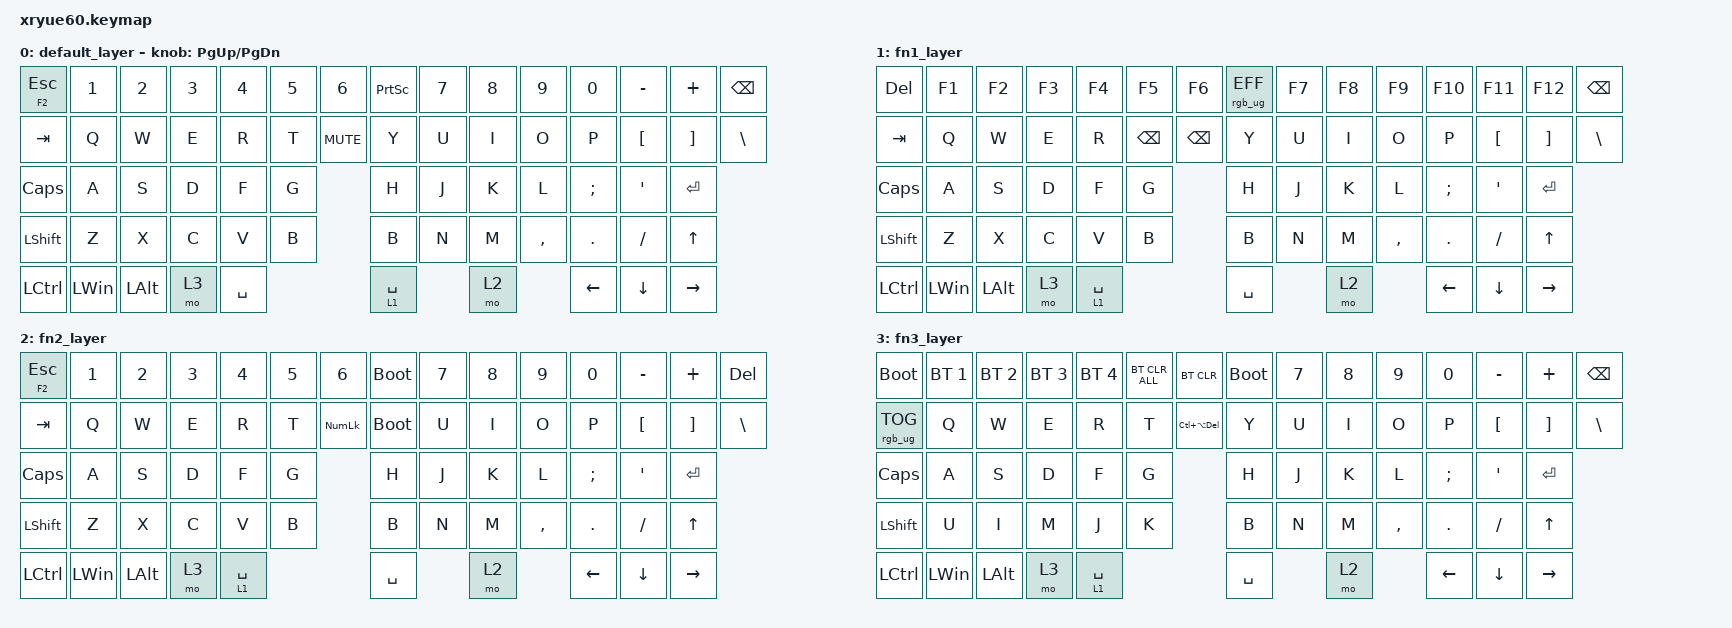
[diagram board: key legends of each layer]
/*
 * Copyright (c) 2020 The ZMK Contributors
 *
 * SPDX-License-Identifier: MIT
 */

#include <behaviors.dtsi>
#include <dt-bindings/zmk/bt.h>
#include <dt-bindings/zmk/keys.h>
#include <dt-bindings/zmk/rgb.h>

/ {
    macros {
        pin: pin {
            compatible = "zmk,behavior-macro";
            #binding-cells = <0>;
            bindings = <&kp N1 &kp N2 &kp N3 &kp N1 &kp N2 &kp N3>;
        };

        xzw: xzw {
            compatible = "zmk,behavior-macro";
            #binding-cells = <0>;
            bindings =
                <&macro_tap>,
                <&kp X &kp Z &kp W>,
                <&macro_press>,
                <&kp LSHFT>,
                <&macro_tap>,
                <&kp X &kp Z &kp W>,
                <&macro_release>,
                <&kp LSHFT>,
                <&macro_tap>,
                <&kp N1 &kp N9 &kp N9 &kp N1 &kp EXCL>;
        };

        jd: jd {
            compatible = "zmk,behavior-macro";
            #binding-cells = <0>;
            bindings =
                <&macro_tap>,
                <&kp J &kp D>,
                <&macro_press>,
                <&kp LSHFT>,
                <&macro_tap>,
                <&kp W &kp L>,
                <&macro_release>,
                <&kp LSHFT>,
                <&macro_tap>,
                <&kp AT &kp O &kp P &kp S &kp N6 &kp N1 &kp N8>;
        };

        sjjs: sjjs {
            compatible = "zmk,behavior-macro";
            #binding-cells = <0>;
            bindings = <&kp N1 &kp N9 &kp N9 &kp N3 &kp N1 &kp N8>;
            label = "SJJS";
        };

        vlookup: vlookup {
            compatible = "zmk,behavior-macro";
            #binding-cells = <0>;
            bindings = <&kp EQUAL &kp LS(V) &kp LS(L) &kp LS(O) &kp LS(O) &kp LS(K) &kp LS(U) &kp LS(P) &kp LPAR>;
            label = "VLOOKUP";
        };
    };

    /*
    combos {
        compatible = "zmk,combos";

        combo_F1 {
            #timeout-ms = <5>;
            key-positions = <1 2>;
            bindings = <&kp F1>;
        };
        combo_F2 {
            #timeout-ms = <5>;
            key-positions = <2 3>;
            bindings = <&kp F2>;
        };
        combo_F3 {
            #timeout-ms = <5>;
            key-positions = <3 4>;
            bindings = <&kp F3>;
        };       
        combo_F4 {
            #timeout-ms = <5>;
            key-positions = <4 5>;
            bindings = <&kp F4>;
        };
        combo_F5 {
            #timeout-ms = <5>;
            key-positions = <5 6>;
            bindings = <&kp F5>;
        };
        combo_F6 {
            #timeout-ms = <5>;
            key-positions = <6 20>;
            bindings = <&kp F6>;
        };
        combo_F7 {
            #timeout-ms = <5>;
            key-positions = <8 9>;
            bindings = <&kp F7>;
        };
        combo_F8 {
            #timeout-ms = <5>;
            key-positions = <9 10>;
            bindings = <&kp F8>;
        };
        combo_F9 {
            #timeout-ms = <5>;
            key-positions = <10 11>;
            bindings = <&kp F9>;
        };
        combo_F10 {
            #timeout-ms = <5>;
            key-positions = <11 12>;
            bindings = <&kp F10>;
        };
        combo_F11 {
            #timeout-ms = <5>;
            key-positions = <12 13>;
            bindings = <&kp F11>;
        };
         combo_F12 {
            #timeout-ms = <5>;
            key-positions = <13 14>;
            bindings = <&kp F12>;
        };       
    };
*/

    keymap0: keymap {
        compatible = "zmk,keymap";

        default_layer {
            bindings = <
&mt F2 ESC  &kp N1    &kp N2    &kp N3  &kp N4     &kp N5  &kp N6      &kp PSCRN    &kp N7  &kp N8  &kp N9     &kp N0    &kp MINUS  &kp PLUS   &kp BSPC
&kp TAB     &kp Q     &kp W     &kp E   &kp R      &kp T   &kp C_MUTE  &kp Y        &kp U   &kp I   &kp O      &kp P     &kp LBKT   &kp RBKT   &kp BSLH
&kp CAPS    &kp A     &kp S     &kp D   &kp F      &kp G               &kp H        &kp J   &kp K   &kp L      &kp SEMI  &kp SQT    &kp ENTER
&kp LSHFT   &kp Z     &kp X     &kp C   &kp V      &kp B               &kp B        &kp N   &kp M   &kp COMMA  &kp DOT   &kp FSLH   &kp UP
&kp LCTRL   &kp LWIN  &kp LALT  &mo 3   &kp SPACE                      &lt 1 SPACE          &mo 2              &kp LEFT  &kp DOWN   &kp RIGHT
            >;
sensor-bindings = <&inc_dec_kp PG_UP PG_DN>;


        };

        fn1_layer {
            bindings = <
&kp DEL    &kp F1    &kp F2    &kp F3  &kp F4       &kp F5    &kp F6    &rgb_ug RGB_EFF  &kp F7  &kp F8  &kp F9     &kp F10   &kp F11   &kp F12    &kp BSPC
&kp TAB    &kp Q     &kp W     &kp E   &kp R        &kp BSPC  &kp BSPC  &kp Y            &kp U   &kp I   &kp O      &kp P     &kp LBKT  &kp RBKT   &kp BSLH
&kp CAPS   &kp A     &kp S     &kp D   &kp F        &kp G               &kp H            &kp J   &kp K   &kp L      &kp SEMI  &kp SQT   &kp ENTER
&kp LSHFT  &kp Z     &kp X     &kp C   &kp V        &kp B               &kp B            &kp N   &kp M   &kp COMMA  &kp DOT   &kp FSLH  &kp UP
&kp LCTRL  &kp LWIN  &kp LALT  &mo 3   &lt 1 SPACE                      &kp SPACE                &mo 2              &kp LEFT  &kp DOWN  &kp RIGHT
            >;

            
        };

        fn2_layer {
            bindings = <
&mt F2 ESC  &kp N1    &kp N2    &kp N3  &kp N4       &kp N5  &kp N6      &bootloader  &kp N7  &kp N8  &kp N9     &kp N0    &kp MINUS  &kp PLUS   &kp DEL
&kp TAB     &kp Q     &kp W     &kp E   &kp R        &kp T   &kp KP_NUM  &bootloader  &kp U   &kp I   &kp O      &kp P     &kp LBKT   &kp RBKT   &kp BSLH
&kp CAPS    &kp A     &kp S     &kp D   &kp F        &kp G               &kp H        &kp J   &kp K   &kp L      &kp SEMI  &kp SQT    &kp ENTER
&kp LSHFT   &kp Z     &kp X     &kp C   &kp V        &kp B               &kp B        &kp N   &kp M   &kp COMMA  &kp DOT   &kp FSLH   &kp UP
&kp LCTRL   &kp LWIN  &kp LALT  &mo 3   &lt 1 SPACE                      &kp SPACE            &mo 2              &kp LEFT  &kp DOWN   &kp RIGHT
            >;

           
        };

        fn3_layer {
            bindings = <
&bootloader           &bt BT_SEL 1  &bt BT_SEL 2  &bt BT_SEL 3  &bt BT_SEL 4  &bt BT_CLR_ALL  &bt BT_CLR       &bootloader  &kp N7  &kp N8  &kp N9     &kp N0    &kp MINUS  &kp PLUS   &kp BSPC
&rgb_ug RGB_TOG       &kp Q         &kp W         &kp E         &kp R         &kp T           &kp LC(LA(DEL))  &kp Y        &kp U   &kp I   &kp O      &kp P     &kp LBKT   &kp RBKT   &kp BSLH
&kp CAPS              &kp A         &kp S         &kp D         &kp F         &kp G                            &kp H        &kp J   &kp K   &kp L      &kp SEMI  &kp SQT    &kp ENTER
&kp LSHFT             &kp U         &kp I         &kp M         &kp J         &kp K                            &kp B        &kp N   &kp M   &kp COMMA  &kp DOT   &kp FSLH   &kp UP
&kp LCTRL             &kp LWIN      &kp LALT      &mo 3         &lt 1 SPACE                                    &kp SPACE            &mo 2              &kp LEFT  &kp DOWN   &kp RIGHT
            >;

           
        };
    };
};
